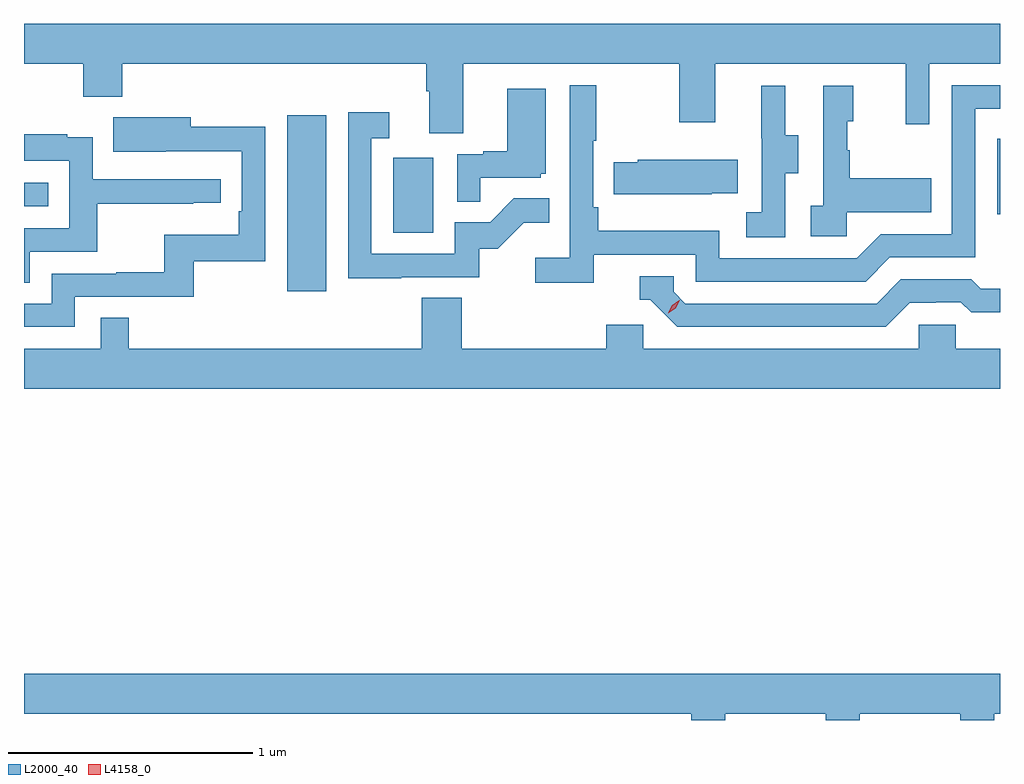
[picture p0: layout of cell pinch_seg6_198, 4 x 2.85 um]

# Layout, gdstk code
import gdstk
lib = gdstk.Library(unit=1e-6, precision=1e-09)
def R(c, l, rs):  # rectangles x0, y0, x1, y1
    for r in rs: c.add(gdstk.rectangle(r[:2], r[2:], *l))
def P(c, l, *ps):  # polygons
    for p in ps: c.add(gdstk.Polygon(p, *l))
L2000_40 = (2000, 40)
L4158_0 = (4158, 0)

pinch_seg6_198 = lib.new_cell('pinch_seg6_198')
R(pinch_seg6_198, L2000_40, [(1045.337,933.084,1045.498,933.805), (1045.772,933.324,1045.936,933.631), (1048.248,933.399,1048.259,933.708), (1044.259,933.432,1044.359,933.528)])
P(pinch_seg6_198, L2000_40, [(1046.059,934.016),(1046.944,934.016),(1046.944,933.777),(1047.091,933.777),(1047.091,934.016),(1047.872,934.016),(1047.872,933.768),(1047.969,933.768),(1047.969,934.016),(1048.259,934.016),(1048.259,934.18),(1044.259,934.18),(1044.259,934.016),(1044.502,934.016),(1044.502,933.881),(1044.662,933.881),(1044.662,934.016),(1045.907,934.016),(1045.907,933.904),(1045.919,933.904),(1045.919,933.73),(1046.059,933.73)],
  [(1046.594,933.234),(1047.012,933.234),(1047.012,933.123),(1047.709,933.123),(1047.808,933.222),(1048.158,933.222),(1048.158,933.831),(1048.259,933.831),(1048.259,933.927),(1048.062,933.927),(1048.062,933.318),(1047.771,933.318),(1047.672,933.219),(1047.108,933.219),(1047.108,933.331),(1046.612,933.331),(1046.612,933.427),(1046.592,933.427),(1046.592,933.7),(1046.605,933.7),(1046.605,933.928),(1046.496,933.928),(1046.496,933.22),(1046.355,933.22),(1046.355,933.118),(1046.594,933.118)],
  [(1047.378,933.568),(1047.433,933.568),(1047.433,933.723),(1047.379,933.723),(1047.379,933.925),(1047.281,933.925),(1047.281,933.711),(1047.282,933.711),(1047.282,933.407),(1047.219,933.407),(1047.219,933.304),(1047.378,933.304)],
  [(1047.63,933.407),(1047.977,933.407),(1047.977,933.547),(1047.643,933.547),(1047.643,933.662),(1047.633,933.662),(1047.633,933.78),(1047.658,933.78),(1047.658,933.925),(1047.534,933.925),(1047.534,933.434),(1047.483,933.434),(1047.483,933.309),(1047.63,933.309)],
  [(1046.129,933.549),(1046.376,933.549),(1046.376,933.564),(1046.398,933.564),(1046.398,933.913),(1046.24,933.913),(1046.24,933.658),(1046.141,933.658),(1046.141,933.645),(1046.034,933.645),(1046.034,933.451),(1046.129,933.451)],
  [(1045.805,933.141),(1046.124,933.141),(1046.124,933.258),(1046.2,933.258),(1046.307,933.365),(1046.411,933.365),(1046.411,933.464),(1046.267,933.464),(1046.169,933.366),(1046.025,933.366),(1046.025,933.237),(1045.683,933.237),(1045.683,933.711),(1045.756,933.711),(1045.756,933.817),(1045.587,933.817),(1045.587,933.136),(1045.805,933.136)],
  [(1044.468,933.06),(1044.955,933.06),(1044.955,933.207),(1045.248,933.207),(1045.248,933.758),(1044.943,933.758),(1044.943,933.796),(1044.625,933.796),(1044.625,933.656),(1044.839,933.656),(1044.839,933.657),(1045.152,933.657),(1045.152,933.412),(1045.139,933.412),(1045.139,933.316),(1044.834,933.316),(1044.834,933.161),(1044.637,933.161),(1044.637,933.156),(1044.372,933.156),(1044.372,933.033),(1044.259,933.033),(1044.259,932.937),(1044.468,932.937)],
  [(1044.283,933.246),(1044.56,933.246),(1044.56,933.442),(1044.953,933.442),(1044.953,933.447),(1045.066,933.447),(1045.066,933.543),(1044.54,933.543),(1044.54,933.715),(1044.437,933.715),(1044.437,933.727),(1044.259,933.727),(1044.259,933.618),(1044.444,933.618),(1044.444,933.342),(1044.259,933.342),(1044.259,933.118),(1044.283,933.118)],
  [(1047.077,933.485),(1047.185,933.485),(1047.185,933.622),(1046.775,933.622),(1046.775,933.612),(1046.677,933.612),(1046.677,933.482),(1047.077,933.482)],
  [(1047.889,933.036),(1047.996,933.036),(1047.996,933.039),(1048.099,933.039),(1048.141,932.997),(1048.259,932.997),(1048.259,933.093),(1048.18,933.093),(1048.141,933.132),(1047.852,933.132),(1047.753,933.033),(1046.97,933.033),(1046.922,933.081),(1046.922,933.144),(1046.783,933.144),(1046.783,933.048),(1046.826,933.048),(1046.937,932.937),(1047.79,932.937)],
  [(1048.259,932.848),(1048.077,932.848),(1048.077,932.946),(1047.927,932.946),(1047.927,932.848),(1046.796,932.848),(1046.796,932.946),(1046.645,932.946),(1046.645,932.848),(1046.054,932.848),(1046.054,933.056),(1045.889,933.056),(1045.889,932.848),(1044.689,932.848),(1044.689,932.975),(1044.573,932.975),(1044.573,932.848),(1044.259,932.848),(1044.259,932.684),(1048.259,932.684)],
  [(1047.133,931.352),(1047.545,931.352),(1047.545,931.325),(1047.685,931.325),(1047.685,931.352),(1048.097,931.352),(1048.097,931.325),(1048.236,931.325),(1048.236,931.352),(1048.259,931.352),(1048.259,931.516),(1044.259,931.516),(1044.259,931.352),(1046.993,931.352),(1046.993,931.325),(1047.133,931.325)])
P(pinch_seg6_198, L4158_0, [(1046.9,932.994),(1046.9,932.995),(1046.915,933.027),(1046.945,933.047),(1046.946,933.047),(1046.946,933.047),(1046.93,933.014),(1046.9,932.994)])

lib.write_gds('pinch_seg6_198.gds')
